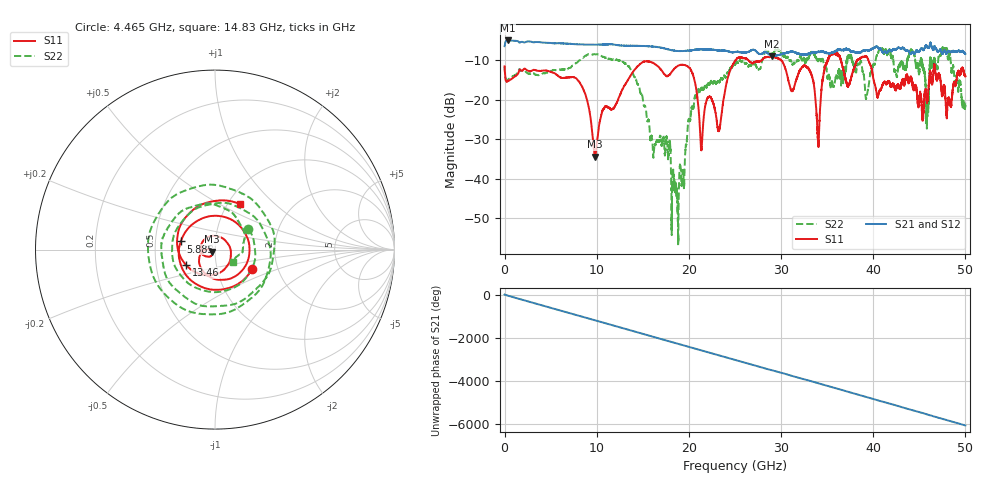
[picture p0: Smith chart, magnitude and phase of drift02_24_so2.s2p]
!Created with skrf (http://scikit-rf.org).
# Hz S RI R 50.0
!freq ReS11 ImS11 ReS21 ImS21 ReS12 ImS12 ReS22 ImS22
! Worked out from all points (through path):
!   10001 points, 300 kHz to 50 GHz, reference 50 ohm
!   highest |S21| = -5.04 dB at 325.3 MHz (marker M1); lowest = -9.0 dB at 28.98 GHz (marker M2)
!   group delay of S21, straight-line fit = 336 ps
!   lowest |S11| = -34.5 dB at 9.84 GHz (marker M3), VSWR 1.04, Z = 48.5 - j1.05 ohm
!   |S11| at or under -10 dB: start of sweep to 25.08 GHz; 29.97 GHz to 35.04 GHz (5.07 GHz wide, 15.6 % of centre); 39.47 GHz to end of sweep (the widest 3 of 6)
!   |S22| runs from -57.1 to -6.8 dB; largest |S21 - S12| = 0.024
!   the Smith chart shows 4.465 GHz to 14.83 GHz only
!   S11 on the Smith chart (normalised r, x): 4.465 GHz: 1.47, -0.34; 5.885 GHz: 0.68, +0.06; 13.46 GHz: 0.71, -0.13; 14.83 GHz: 1.15, +0.63
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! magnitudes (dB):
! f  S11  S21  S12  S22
! 300 kHz  -11.6  -6.5  -6.4  -11.6
! 325.3 MHz  -15.4  -5.0  -5.0  -15.1
! 4.465 GHz  -12.6  -5.6  -5.6  -13.3
! 5.885 GHz  -14.2  -5.7  -5.7  -12.5
! 8.335 GHz  -16.4  -6.1  -6.0  -9.6
! 9.84 GHz  -34.5  -6.1  -6.1  -8.6
! 13.46 GHz  -14.7  -6.4  -6.4  -11.6
! 14.83 GHz  -10.8  -6.4  -6.4  -18.5
! 16.67 GHz  -11.7  -6.7  -6.7  -30.6
! 18.67 GHz  -11.7  -7.7  -7.7  -42.9
! 20.37 GHz  -13.3  -7.5  -7.5  -22.1
! 21.37 GHz  -32.4  -7.3  -7.3  -17.0
! 23.3 GHz  -27.7  -7.5  -7.6  -15.6
! 25 GHz  -10.3  -8.0  -8.0  -11.2
! 28.98 GHz  -9.2  -9.0  -9.0  -8.4
! 33.34 GHz  -14.0  -8.1  -8.1  -8.1
! 34.02 GHz  -30.2  -7.8  -7.9  -10.2
! 35.5 GHz  -8.5  -8.1  -8.1  -15.6
! 41.67 GHz  -15.3  -7.7  -7.8  -7.5
! 45.85 GHz  -20.6  -6.7  -6.8  -21.6
! 47.77 GHz  -17.6  -7.6  -7.6  -7.3
! 50 GHz  -14.1  -8.5  -8.5  -21.0
